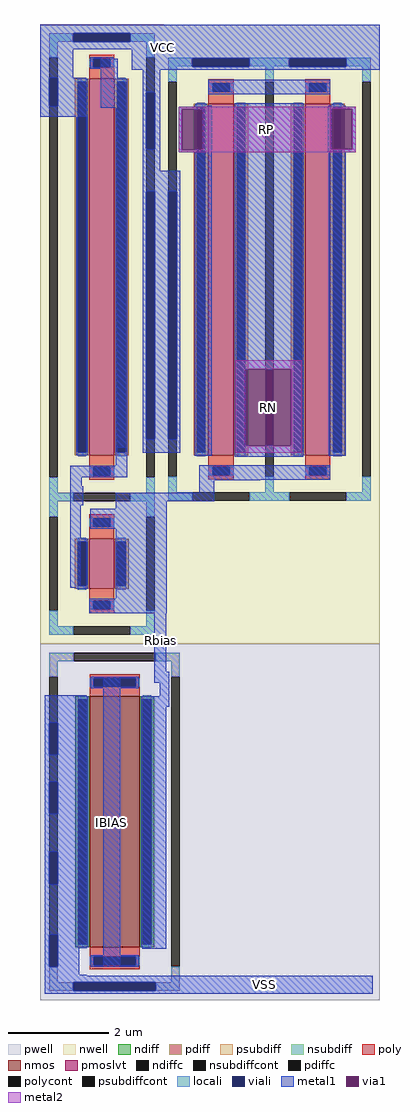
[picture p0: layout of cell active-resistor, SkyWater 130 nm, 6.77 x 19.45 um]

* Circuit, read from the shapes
.subckt active-resistor IBIAS VCC VSS RP RN
XM1 Rbias IBIAS VSS VSS sky130_fd_pr__nfet_01v8 w=5 l=1
XM2 Rbias Rbias n1 VCC sky130_fd_pr__pfet_01v8_lvt w=1 l=0.5
XM3 n1 n1 VCC VCC sky130_fd_pr__pfet_01v8_lvt w=7.5 l=0.5
XM4 RN Rbias RP VCC sky130_fd_pr__pfet_01v8_lvt w=7 l=0.5 m=2
.ends

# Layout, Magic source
magic
tech sky130A
magscale 1 2
<< nwell >>
rect 3450 2006 4804 2104
rect 3450 1934 3582 2006
rect 3450 1754 3478 1934
rect 3524 1918 3582 1934
rect 3816 1918 4804 2006
rect 3524 1754 4804 1918
rect 3450 418 4804 1754
rect 3450 411 3616 418
rect 3806 411 4804 418
rect 3450 360 3597 411
rect 3820 360 4804 411
rect 3450 359 3616 360
rect 3806 359 4804 360
rect 3450 281 3540 359
rect 3814 348 4804 359
rect 4084 288 4804 348
rect 3814 281 4804 288
rect 3450 264 3616 281
rect 3806 264 4804 281
rect 3450 188 4804 264
rect 3450 128 3612 188
rect 3634 173 4804 188
rect 3450 61 3634 128
rect 3796 61 4804 173
rect 3450 -364 4804 61
<< pwell >>
rect 3450 -478 4804 -364
rect 3450 -562 3822 -478
rect 3848 -520 4804 -478
rect 3848 -560 3874 -520
rect 3926 -560 4804 -520
rect 3450 -576 3848 -562
rect 3958 -576 4804 -560
rect 3450 -588 3874 -576
rect 3926 -588 4804 -576
rect 3450 -1574 4804 -588
rect 3450 -1684 3606 -1574
rect 3640 -1684 4804 -1574
rect 3450 -1784 4804 -1684
<< viali >>
rect 3582 2036 3810 2070
rect 4056 1936 4284 1970
rect 4442 1936 4670 1970
rect 3486 1778 3520 1892
rect 3872 1606 3906 1834
rect 3872 450 3906 1440
rect 3960 450 3994 1440
rect 3486 -806 3520 -678
rect 3486 -1042 3520 -914
rect 3486 -1322 3520 -1194
rect 3486 -1652 3520 -1524
rect 3582 -1748 3910 -1714
<< metal1 >>
rect 3450 2070 4804 2104
rect 3450 2036 3582 2070
rect 3810 2036 4804 2070
rect 3450 2006 4804 2036
rect 3450 1892 3582 2006
rect 3816 1970 4804 2006
rect 3450 1778 3486 1892
rect 3520 1778 3634 1892
rect 3450 1736 3634 1778
rect 3692 1886 3760 1968
rect 3816 1936 4056 1970
rect 4284 1936 4442 1970
rect 4670 1936 4804 1970
rect 3816 1924 4804 1936
rect 3692 1772 3796 1886
rect 3754 418 3796 1772
rect 3858 1834 3928 1924
rect 3858 1606 3872 1834
rect 3906 1606 3928 1834
rect 4120 1826 4606 1884
rect 4066 1776 4134 1780
rect 3858 1522 3928 1606
rect 4002 1766 4134 1776
rect 4002 1604 4014 1766
rect 4098 1604 4134 1766
rect 4002 1594 4134 1604
rect 3858 1440 4008 1522
rect 3858 450 3872 1440
rect 3906 450 3960 1440
rect 3994 450 4008 1440
rect 3858 398 4008 450
rect 3752 346 3798 397
rect 4066 386 4134 1594
rect 4226 730 4498 1790
rect 4600 1776 4668 1780
rect 4596 1768 4708 1776
rect 4596 1606 4610 1768
rect 4694 1606 4708 1768
rect 4596 1594 4708 1606
rect 4226 426 4268 730
rect 4450 426 4498 730
rect 4226 382 4498 426
rect 4600 386 4668 1594
rect 3713 345 3798 346
rect 3570 342 3798 345
rect 3570 330 3731 342
rect 3739 330 3798 342
rect 3570 299 3798 330
rect 3570 264 3616 299
rect 4084 290 4606 348
rect 4084 288 4328 290
rect 3570 188 3622 264
rect 4084 238 4144 288
rect 3752 204 4144 238
rect 3570 -140 3612 188
rect 3752 173 3954 204
rect 3650 95 3954 173
rect 3752 -184 3954 95
rect 3646 -242 3954 -184
rect 3904 -476 3952 -242
rect 3468 -678 3636 -570
rect 3468 -806 3486 -678
rect 3520 -806 3636 -678
rect 3468 -914 3636 -806
rect 3468 -1042 3486 -914
rect 3520 -1042 3636 -914
rect 3468 -1194 3636 -1042
rect 3468 -1322 3486 -1194
rect 3520 -1322 3636 -1194
rect 3468 -1524 3636 -1322
rect 3468 -1652 3486 -1524
rect 3520 -1574 3636 -1524
rect 3520 -1652 3606 -1574
rect 3702 -1650 3770 -500
rect 3904 -520 3964 -476
rect 3926 -573 3964 -520
rect 3856 -588 3874 -576
rect 3898 -588 3964 -573
rect 3856 -616 3964 -588
rect 3856 -1580 3952 -616
rect 3468 -1684 3606 -1652
rect 3468 -1688 3636 -1684
rect 3468 -1714 4776 -1688
rect 3468 -1748 3582 -1714
rect 3910 -1748 4776 -1714
rect 3468 -1760 4776 -1748
<< via1 >>
rect 4014 1604 4098 1766
rect 4610 1606 4694 1768
rect 4268 426 4450 730
<< metal2 >>
rect 4002 1768 4708 1776
rect 4002 1766 4610 1768
rect 4002 1604 4014 1766
rect 4098 1606 4610 1766
rect 4694 1606 4708 1768
rect 4098 1604 4708 1606
rect 4002 1594 4708 1604
rect 4228 730 4492 766
rect 4228 426 4268 730
rect 4450 426 4492 730
rect 4228 398 4492 426
use sky130_fd_pr__nfet_01v8_VNG24X  sky130_fd_pr__nfet_01v8_VNG24X_0
transform 1 0 3747 0 1 -1074
box -296 -710 296 710
use sky130_fd_pr__pfet_01v8_lvt_B5E2Q5  sky130_fd_pr__pfet_01v8_lvt_B5E2Q5_0
transform 1 0 3696 0 1 -45
box -246 -319 246 319
use sky130_fd_pr__pfet_01v8_lvt_E4WS6L  sky130_fd_pr__pfet_01v8_lvt_E4WS6L_0
transform 1 0 4557 0 1 1088
box -246 -919 246 919
use sky130_fd_pr__pfet_01v8_lvt_EG9S6L  sky130_fd_pr__pfet_01v8_lvt_EG9S6L_0
transform 1 0 4171 0 1 1088
box -246 -919 246 919
use sky130_fd_pr__pfet_01v8_lvt_NZC8UH  sky130_fd_pr__pfet_01v8_lvt_NZC8UH_0
transform 1 0 3696 0 1 1137
box -246 -969 246 969
<< labels >>
flabel metal1 3702 -1650 3770 -500 0 FreeSans 320 0 0 0 IBIAS
port 7 nsew
flabel metal1 3816 1924 4056 2104 0 FreeSans 320 0 0 0 VCC
port 8 nsew
flabel metal1 3910 -1760 4776 -1688 0 FreeSans 320 0 0 0 VSS
port 9 nsew
flabel metal2 4098 1594 4610 1776 0 FreeSans 320 0 0 0 RP
port 10 nsew
flabel via1 4268 426 4450 730 0 FreeSans 320 0 0 0 RN
port 11 nsew
flabel metal1 3904 -520 3952 -184 0 FreeSans 320 0 0 0 Rbias
<< end >>

# cell sky130_fd_pr__nfet_01v8_VNG24X: kit device sky130_fd_pr__nfet_01v8, w 5 l 1 m 1 nf 1 diffcov 100 polycov 100 guard 1 glc 1 grc 1 gtc 1 gbc 1 tbcov 100 rlcov 100 topc 1 botc 1 poverlap 1 doverlap 1 lmin 0.15 wmin 0.42 compatible {sky130_fd_pr__nfet_01v8 sky130_fd_pr__nfet_01v8_lvt sky130_fd_bs_flash__special_sonosfet_star sky130_fd_pr__nfet_g5v0d10v5 sky130_fd_pr__nfet_05v0_nvt sky130_fd_pr__nfet_03v3_nvt} full_metal 1 viasrc 100 viadrn 100 viagate 100 viagb 0 viagr 0 viagl 0 viagt 0

# cell sky130_fd_pr__pfet_01v8_lvt_B5E2Q5: kit device sky130_fd_pr__pfet_01v8_lvt, w 1 l 0.5 m 1 nf 1 diffcov 100 polycov 100 guard 1 glc 1 grc 1 gtc 1 gbc 1 tbcov 100 rlcov 100 topc 1 botc 1 poverlap 0 doverlap 1 lmin 0.35 wmin 0.42 compatible {sky130_fd_pr__pfet_01v8 sky130_fd_pr__pfet_01v8_lvt sky130_fd_pr__pfet_01v8_hvt sky130_fd_pr__pfet_g5v0d10v5} full_metal 1 viasrc 100 viadrn 100 viagate 100 viagb 0 viagr 0 viagl 0 viagt 0

# cell sky130_fd_pr__pfet_01v8_lvt_E4WS6L: kit device sky130_fd_pr__pfet_01v8_lvt, w 7 l 0.5 m 1 nf 1 diffcov 100 polycov 100 guard 1 glc 1 grc 1 gtc 1 gbc 1 tbcov 100 rlcov 100 topc 1 botc 1 poverlap 1 doverlap 1 lmin 0.35 wmin 0.42 compatible {sky130_fd_pr__pfet_01v8 sky130_fd_pr__pfet_01v8_lvt sky130_fd_pr__pfet_01v8_hvt sky130_fd_pr__pfet_g5v0d10v5} full_metal 1 viasrc 100 viadrn 100 viagate 100 viagb 0 viagr 0 viagl 0 viagt 0

# cell sky130_fd_pr__pfet_01v8_lvt_EG9S6L: kit device sky130_fd_pr__pfet_01v8_lvt, w 7 l 0.5 m 1 nf 1 diffcov 100 polycov 100 guard 1 glc 1 grc 1 gtc 1 gbc 1 tbcov 100 rlcov 100 topc 1 botc 1 poverlap 1 doverlap 1 lmin 0.15 wmin 0.42 compatible {sky130_fd_pr__pfet_01v8 sky130_fd_pr__pfet_01v8_lvt sky130_fd_pr__pfet_01v8_hvt sky130_fd_pr__pfet_g5v0d10v5} full_metal 1 viasrc 100 viadrn 100 viagate 100 viagb 0 viagr 0 viagl 0 viagt 0

# cell sky130_fd_pr__pfet_01v8_lvt_NZC8UH: kit device sky130_fd_pr__pfet_01v8_lvt, w 7.5 l 0.5 m 1 nf 1 diffcov 100 polycov 100 guard 1 glc 1 grc 1 gtc 1 gbc 1 tbcov 100 rlcov 100 topc 1 botc 1 poverlap 1 doverlap 1 lmin 0.35 wmin 0.42 compatible {sky130_fd_pr__pfet_01v8 sky130_fd_pr__pfet_01v8_lvt sky130_fd_pr__pfet_01v8_hvt sky130_fd_pr__pfet_g5v0d10v5} full_metal 1 viasrc 100 viadrn 100 viagate 100 viagb 0 viagr 0 viagl 0 viagt 0
